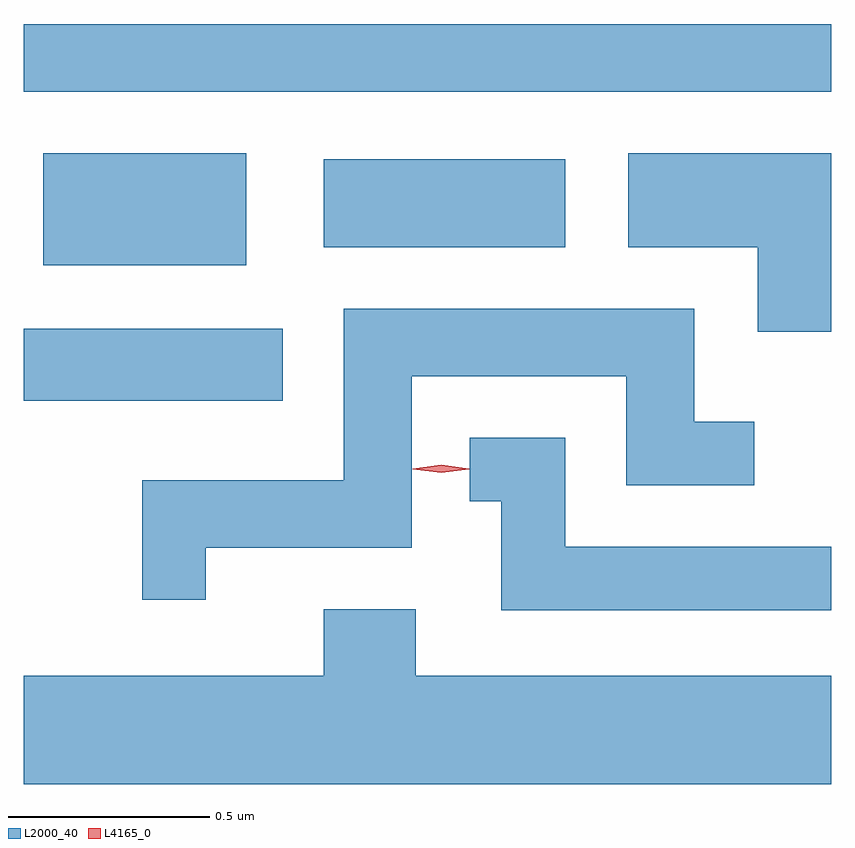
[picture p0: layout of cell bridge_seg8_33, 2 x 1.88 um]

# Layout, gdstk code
import gdstk
lib = gdstk.Library(unit=1e-6, precision=1e-09)
def R(c, l, rs):  # rectangles x0, y0, x1, y1
    for r in rs: c.add(gdstk.rectangle(r[:2], r[2:], *l))
def P(c, l, *ps):  # polygons
    for p in ps: c.add(gdstk.Polygon(p, *l))
L2000_40 = (2000, 40)
L4165_0 = (4165, 0)

bridge_seg8_33 = lib.new_cell('bridge_seg8_33')
R(bridge_seg8_33, L2000_40, [(1486.938,1910.626,1487.579,1910.804), (1486.986,1910.961,1487.489,1911.239), (1487.681,1911.006,1488.279,1911.224), (1486.938,1911.391,1488.938,1911.559)])
P(bridge_seg8_33, L2000_40, [(1488.938,1911.239),(1488.436,1911.239),(1488.436,1911.006),(1488.756,1911.006),(1488.756,1910.796),(1488.938,1910.796)],
  [(1487.389,1910.261),(1487.899,1910.261),(1487.899,1910.686),(1488.431,1910.686),(1488.431,1910.416),(1488.748,1910.416),(1488.748,1910.574),(1488.599,1910.574),(1488.599,1910.854),(1487.731,1910.854),(1487.731,1910.429),(1487.231,1910.429),(1487.231,1910.133),(1487.389,1910.133)],
  [(1488.938,1910.264),(1488.279,1910.264),(1488.279,1910.534),(1488.043,1910.534),(1488.043,1910.376),(1488.121,1910.376),(1488.121,1910.106),(1488.938,1910.106)],
  [(1488.938,1909.944),(1487.909,1909.944),(1487.909,1910.109),(1487.681,1910.109),(1487.681,1909.944),(1486.938,1909.944),(1486.938,1909.676),(1488.938,1909.676)])
P(bridge_seg8_33, L4165_0, [(1487.972,1910.447),(1487.902,1910.456),(1487.902,1910.457),(1487.902,1910.457),(1487.972,1910.467),(1488.041,1910.457),(1488.041,1910.456),(1488.041,1910.456)])

lib.write_gds('bridge_seg8_33.gds')
